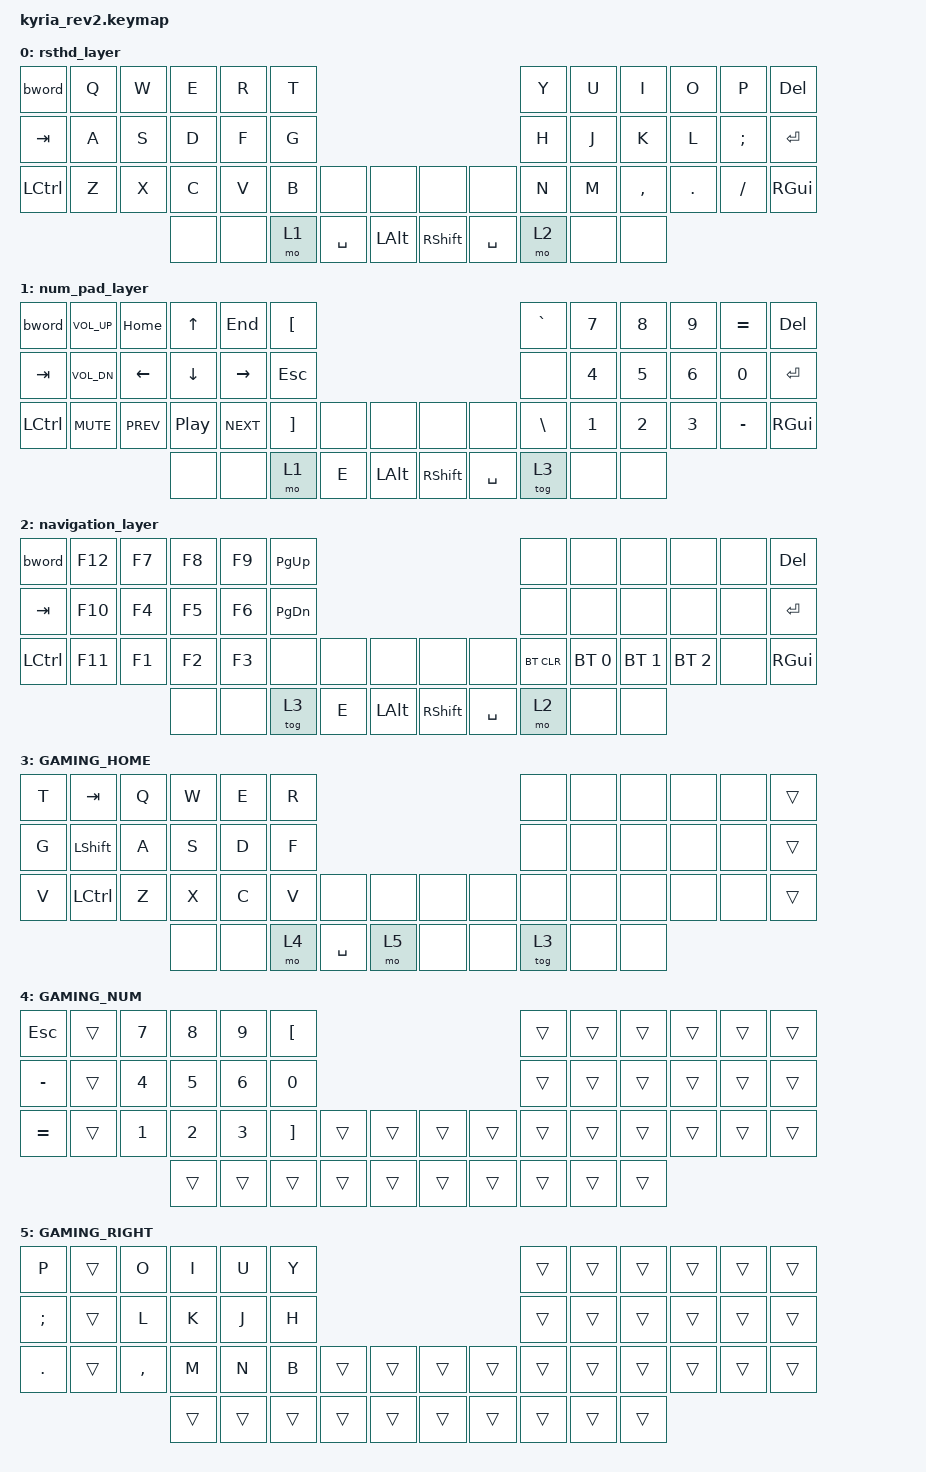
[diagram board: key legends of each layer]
/*
 * Copyright (c) 2020 The ZMK Contributors
 *
 * SPDX-License-Identifier: MIT
 *
 * Copy code and paste into zmk-kyria-config/kyria_rev2.keymap
 *
 */

#include <behaviors.dtsi>
#include <dt-bindings/zmk/keys.h>
#include <dt-bindings/zmk/bt.h>

#define _RSTHD 0
#define _NUMPQ 1
#define _NAVIG 2

/ {
    macros {
        exclame: exclame {
            label = "ZM_exclame";
            compatible = "zmk,behavior-macro";
            #binding-cells = <0>;
            wait-ms = <16>;
            bindings =
                <&macro_press>,
                <&kp LSHFT>,
                <&macro_tap>,
                <&kp N1>,
                <&macro_release>,
                <&kp LSHFT>;
        };
        backword: back_word {
            label = "BACK_WORD";
            compatible = "zmk,behavior-macro";
            #binding-cells = <0>;
            wait-ms = <16>;
            bindings =
                <&macro_press &kp LCTRL>,
                <&macro_tap &kp BSPC>,
                <&macro_release &kp LCTRL>;
        };
    };

    behaviors {
        endpunc: end_punc {
            compatible = "zmk,behavior-mod-morph";
            label = "END_PUNC";
            #binding-cells = <0>;
            bindings =
                <&exclame>,
                <&kp FSLH>;

            mods = <(MOD_LSFT|MOD_RSFT)>;
            keep-mods = <(MOD_LSFT|MOD_RSFT)>;
        };
        slashes: slashes {
            compatible = "zmk,behavior-mod-morph";
            label = "SLASHES";
            #binding-cells = <0>;
            bindings =
                <&kp BSLH>,
                <&kp FSLH>;

            mods = <(MOD_LSFT|MOD_RSFT)>;
        };
        bword: bword {
            compatible = "zmk,behavior-mod-morph";
            label = "BWORD";
            #binding-cells = <0>;
            bindings =
                <&kp BSPC>,
                <&backword>;
            mods = <(MOD_LSFT|MOD_RSFT)>;
        };
        onepipe: one_pipe {
            compatible = "zmk,behavior-mod-morph";
            label = "ONE_PIPE";
            #binding-cells = <0>;
            bindings =
                <&kp N1>,
                <&kp BSLH>;

            mods = <(MOD_LSFT|MOD_RSFT)>;
            keep-mods = <(MOD_LSFT|MOD_RSFT)>;
        };
        threeparen: three_paren {
            compatible = "zmk,behavior-mod-morph";
            label = "THREE_PAREN";
            #binding-cells = <0>;
            bindings =
                <&kp N3>,
                <&kp N0>;

            mods = <(MOD_LSFT|MOD_RSFT)>;
            keep-mods = <(MOD_LSFT|MOD_RSFT)>;
        };
        zerohash: zero_hash {
            compatible = "zmk,behavior-mod-morph";
            label = "ZERO_HASH";
            #binding-cells = <0>;
            bindings =
                <&kp N0>,
                <&kp N3>;

            mods = <(MOD_LSFT|MOD_RSFT)>;
            keep-mods = <(MOD_LSFT|MOD_RSFT)>;
        };
        jcut: j_cut {
            compatible = "zmk,behavior-mod-morph";
            label = "J_CUT";
            #binding-cells = <0>;
            bindings =
                <&kp J>,
                <&kp X>;

            mods = <(MOD_LCTL|MOD_RCTL)>;
            keep-mods = <(MOD_LCTL|MOD_RCTL)>;
        };
        exall: ex_all {
            compatible = "zmk,behavior-mod-morph";
            label = "EX_ALL";
            #binding-cells = <0>;
            bindings =
                <&endpunc>,
                <&kp A>;

            mods = <(MOD_LCTL|MOD_RCTL)>;
            keep-mods = <(MOD_LCTL|MOD_RCTL)>;
        };
    };

    keymap {
        compatible = "zmk,keymap";

        rsthd_layer {
    // ---------------------------------------------------------------------------------------------------------------------------------
    // | BKSP |  Q  |  W  |  E   |  R   |   T   |                                          |   Y   |  U    |  I    |  O   |   P   | DEL  |
    // | TAB  |  A  |  S  |  D   |  F   |   G   |                                          |   H   |  J    |  K    |  L   |   ;   | RET  |
    // | CTRL |  Z  |  X  |  C   |  V   |   B   |                                          |   N   |  M    |  ,    |  .   |   /   | GUI  |
    //                                  | NAVIG |    E    |   ALT   |  |  RSHFT  |  SPACE  | NUMPQ |

            bindings = <
    &bword      &kp Q  &kp W   &kp E   &kp R   &kp T                                                   &kp Y   &kp U   &kp I      &kp O      &kp P      &kp DEL
    &kp TAB     &kp A  &kp S   &kp D   &kp F   &kp G                                                   &kp H   &kp J   &kp K      &kp L      &kp SEMI   &kp ENTER
    &kp LCTRL   &kp Z  &kp X   &kp C   &kp V   &kp B   &none       &none       &none      &none        &kp N   &kp M   &kp COMMA  &kp DOT    &kp FSLH   &kp RGUI
                               &none   &none   &mo 1   &kp SPACE   &kp LALT    &kp RSHFT  &kp SPACE    &mo 2   &none   &none
            >;
        };

        num_pad_layer {
    // ---------------------------------------------------------------------------------------------------------------------------------
    // | BKSP | Vol+ | Home |  ↑  | End |  [    |                                          |   `   |  7    |  8   |  9   |   =   | DEL  |
    // | TAB  | Vol- |   ←  |  ↓  |  →  |  ESC  |                                          |       |  4    |  5   |  6   |   0   | RET  |
    // | CTRL | Mute |  ⏮️ | ⏯️  | ⏭️ |  ]    |                                          |   \   |  1    |  2   |  3   |   -   | GUI  |
    //                                  | NAVIG |    E    |   ALT   |  |  RSHFT  |  SPACE  | NUMPQ |

            bindings = <
    &bword      &kp C_VOL_UP    &kp HOME    &kp UP      &kp END     &kp LBKT                                                &kp GRAVE   &kp N7   &kp N8  &kp N9  &kp EQUAL   &kp DEL
    &kp TAB     &kp C_VOL_DN    &kp LEFT    &kp DOWN    &kp RIGHT   &kp ESC                                                 &none       &kp N4   &kp N5  &kp N6  &kp N0      &kp ENTER
    &kp LCTRL   &kp C_MUTE      &kp C_PREV  &kp C_PP    &kp C_NEXT  &kp RBKT    &none   &none       &none      &none        &kp BSLH    &kp N1   &kp N2  &kp N3  &kp MINUS   &kp RGUI
                                            &none       &none       &mo 1       &kp E   &kp LALT    &kp RSHFT  &kp SPACE    &tog 3      &none    &none
            >;
        };

        navigation_layer {
    // ---------------------------------------------------------------------------------------------------------------------------------
    // | BKSP |  J  |  C  |  Y   |   F   |  K   |                                          |  Z   |  L    |  ,    |  U   |   Q   | DEL  |
    // | TAB  |  R  |  S  |  T   |   H   |  D   |                                          |  M   |  N    |  A    |  I   |   O   | RET  |
    // | CTRL |  !  |  V  |  G   |   P   |  B   |                                          |  X   |  W    |  .    |  ;   |   '   | GUI  |
    //                                  | NAVIG |    E    |   ALT   |  |  RSHFT  |  SPACE  | NUMPQ |

            bindings = <
    &bword      &kp F12  &kp F7 &kp F8  &kp F9  &kp PG_UP                                               &none       &none         &none         &none           &none   &kp DEL
    &kp TAB     &kp F10  &kp F4 &kp F5  &kp F6  &kp PG_DN                                               &none       &none         &none         &none           &none   &kp ENTER
    &kp LCTRL   &kp F11  &kp F1 &kp F2  &kp F3  &none       &none   &none       &none       &none       &bt BT_CLR  &bt BT_SEL 0  &bt BT_SEL 1  &bt BT_SEL 2    &none   &kp RGUI
                                &none   &none   &tog 3      &kp E   &kp LALT    &kp RSHFT   &kp SPACE   &mo 2       &none         &none
            >;
        };

        GAMING_HOME {
            bindings = <
    &kp T    &kp TAB   &kp Q    &kp W   &kp E   &kp R                                       &none   &none   &none   &none   &none  &trans
    &kp G  &kp LSHFT   &kp A    &kp S   &kp D   &kp F                                       &none   &none   &none   &none   &none  &trans
    &kp V  &kp LCTRL   &kp Z    &kp X   &kp C   &kp V   &none       &none   &none   &none   &none   &none   &none   &none   &none  &trans
                                &none   &none   &mo 4   &kp SPACE   &mo 5   &none   &none   &tog 3  &none   &none
            >;
        };

        GAMING_NUM {
            bindings = <
    &kp ESC     &trans  &kp N7  &kp N8  &kp N9  &kp LEFT_BRACKET                                    &trans  &trans  &trans  &trans  &trans  &trans
    &kp MINUS   &trans  &kp N4  &kp N5  &kp N6  &kp N0                                              &trans  &trans  &trans  &trans  &trans  &trans
    &kp EQUAL   &trans  &kp N1  &kp N2  &kp N3  &kp RIGHT_BRACKET   &trans  &trans  &trans  &trans  &trans  &trans  &trans  &trans  &trans  &trans
                                &trans  &trans  &trans              &trans  &trans  &trans  &trans  &trans  &trans  &trans
            >;
        };

        GAMING_RIGHT {
            bindings = <
    &kp P       &trans  &kp O       &kp I   &kp U   &kp Y                                   &trans  &trans  &trans  &trans  &trans  &trans
    &kp SEMI    &trans  &kp L       &kp K   &kp J   &kp H                                   &trans  &trans  &trans  &trans  &trans  &trans
    &kp PERIOD  &trans  &kp COMMA   &kp M   &kp N   &kp B   &trans  &trans  &trans  &trans  &trans  &trans  &trans  &trans  &trans  &trans
                                    &trans  &trans  &trans  &trans  &trans  &trans  &trans  &trans  &trans  &trans
            >;
        };
    };
};
